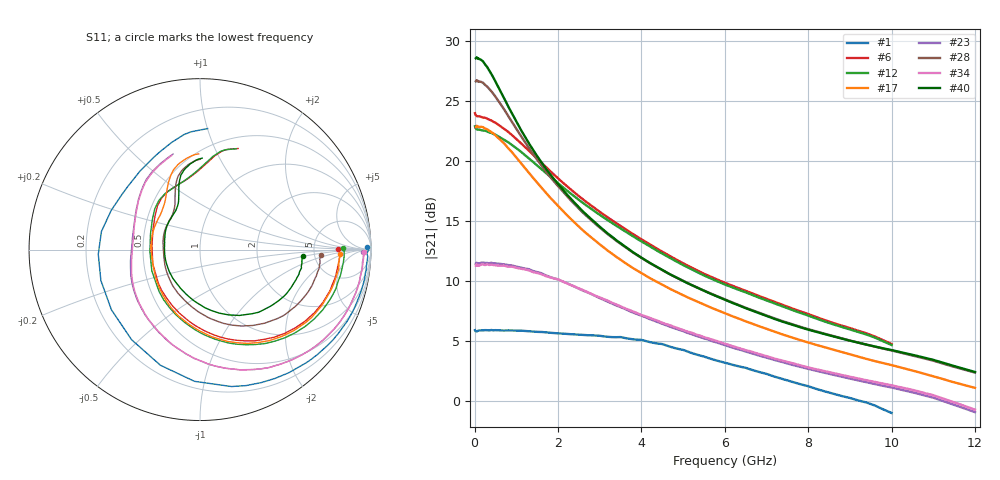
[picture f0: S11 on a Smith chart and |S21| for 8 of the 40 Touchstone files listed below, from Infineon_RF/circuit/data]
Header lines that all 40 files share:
! Infineon Technologies  Discrete & RF Semiconductors
# GHz  S  MA  R  50
!  f  S11  S21  S12  S22
! GHz  MAG  ANG  MAG  ANG  MAG  ANG  MAG  ANG
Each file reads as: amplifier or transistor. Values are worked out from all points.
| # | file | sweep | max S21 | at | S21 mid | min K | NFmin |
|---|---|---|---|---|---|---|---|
| 1 | BFP405_w_noise_VCE_4.0V_IC_0.5mA.s2p | 10 MHz to 10 GHz | 5.9 dB | 400 MHz | 5.7 dB at 1.74 GHz | 0.01 | 0.78 dB |
| 2 | BFP405_w_noise_VCE_4.0V_IC_1.2mA.s2p | 10 MHz to 10 GHz | 12.9 dB | 10 MHz | 12.0 dB at 1.74 GHz | 0.05 | 0.75 dB |
| 3 | BFP405_w_noise_VCE_4.0V_IC_1.5mA.s2p | 10 MHz to 10 GHz | 14.5 dB | 10 MHz | 13.3 dB at 1.74 GHz | 0.06 | 0.79 dB |
| 4 | BFP405_w_noise_VCE_4.0V_IC_2.5mA.s2p | 10 MHz to 10 GHz | 18.2 dB | 10 MHz | 16.1 dB at 1.74 GHz | 0.10 | 0.94 dB |
| 5 | BFP405_w_noise_VCE_4.0V_IC_3.0mA.s2p | 10 MHz to 10 GHz | 19.6 dB | 10 MHz | 17.1 dB at 1.74 GHz | 0.11 | 0.98 dB |
| 6 | BFP405_w_noise_VCE_4.0V_IC_6.0mA.s2p | 10 MHz to 10 GHz | 24.0 dB | 10 MHz | 19.4 dB at 1.74 GHz | 0.18 | 1.32 dB |
| 7 | BFP405_w_noise_VCE_4.0V_IC_8.0mA.s2p | 10 MHz to 10 GHz | 25.6 dB | 10 MHz | 20.0 dB at 1.74 GHz | 0.21 | 1.48 dB |
| 8 | BFP405_w_noise_VCE_4.0V_IC_10mA.s2p | 10 MHz to 10 GHz | 26.7 dB | 10 MHz | 20.3 dB at 1.74 GHz | 0.23 | 1.62 dB |
| 9 | BFP405_w_noise_VCE_4.5V_IC_1.0mA.s2p | 10 MHz to 10 GHz | 11.3 dB | 10 MHz | 10.6 dB at 1.74 GHz | 0.06 | 0.74 dB |
| 10 | BFP405_w_noise_VCE_4.5V_IC_1.2mA.s2p | 10 MHz to 10 GHz | 12.9 dB | 10 MHz | 12.0 dB at 1.74 GHz | 0.07 | 0.75 dB |
| 11 | BFP405_w_noise_VCE_4.5V_IC_1.5mA.s2p | 10 MHz to 10 GHz | 14.6 dB | 10 MHz | 13.4 dB at 1.74 GHz | 0.09 | 0.79 dB |
| 12 | BFP405_w_noise_VCE_4.5V_IC_5.0mA.s2p | 10 MHz to 10 GHz | 22.9 dB | 10 MHz | 18.9 dB at 1.74 GHz | 0.22 | 1.22 dB |
| 13 | BFP405_w_noise_VCE_4.5V_IC_6.0mA.s2p | 10 MHz to 10 GHz | 24.0 dB | 10 MHz | 19.4 dB at 1.74 GHz | 0.24 | 1.32 dB |
| 14 | BFP405_w_noise_VCE_4.5V_IC_8.0mA.s2p | 10 MHz to 10 GHz | 25.6 dB | 10 MHz | 20.0 dB at 1.74 GHz | 0.28 | 1.48 dB |
| 15 | BFP405F_w_noise_VCE_0.5V_IC_1.0mA.s2p | 30 MHz to 12 GHz | 11.6 dB | 50 MHz | 10.1 dB at 1.88 GHz | -0.65 | 0.95 dB |
| 16 | BFP405F_w_noise_VCE_0.5V_IC_2.0mA.s2p | 30 MHz to 12 GHz | 16.7 dB | 50 MHz | 13.8 dB at 1.88 GHz | -0.73 | 1.01 dB |
| 17 | BFP405F_w_noise_VCE_0.5V_IC_5.0mA.s2p | 30 MHz to 12 GHz | 23.0 dB | 50 MHz | 16.7 dB at 1.88 GHz | 0.01 | 1.29 dB |
| 18 | BFP405F_w_noise_VCE_0.5V_IC_6.0mA.s2p | 30 MHz to 12 GHz | 24.0 dB | 50 MHz | 16.9 dB at 1.88 GHz | -0.16 | 1.38 dB |
| 19 | BFP405F_w_noise_VCE_0.5V_IC_12mA.s2p | 30 MHz to 12 GHz | 26.5 dB | 50 MHz | 14.3 dB at 1.88 GHz | 0.32 | 1.80 dB |
| 20 | BFP405F_w_noise_VCE_0.5V_IC_16mA.s2p | 30 MHz to 12 GHz | 25.8 dB | 50 MHz | 9.8 dB at 1.88 GHz | 0.61 | 2.03 dB |
| 21 | BFP405F_w_noise_VCE_0.5V_IC_17mA.s2p | 30 MHz to 12 GHz | 25.5 dB | 30 MHz | 8.7 dB at 1.88 GHz | 0.65 | 2.08 dB |
| 22 | BFP405F_w_noise_VCE_0.5V_IC_18mA.s2p | 30 MHz to 12 GHz | 25.3 dB | 30 MHz | 7.8 dB at 1.88 GHz | 0.71 | 2.14 dB |
| 23 | BFP405F_w_noise_VCE_1.0V_IC_1.0mA.s2p | 30 MHz to 12 GHz | 11.5 dB | 200 MHz | 10.3 dB at 1.88 GHz | -0.76 | 0.95 dB |
| 24 | BFP405F_w_noise_VCE_1.0V_IC_3.0mA.s2p | 30 MHz to 12 GHz | 19.7 dB | 50 MHz | 16.0 dB at 1.88 GHz | -0.47 | 1.11 dB |
| 25 | BFP405F_w_noise_VCE_1.0V_IC_5.0mA.s2p | 30 MHz to 12 GHz | 23.0 dB | 50 MHz | 17.5 dB at 1.88 GHz | -0.56 | 1.29 dB |
| 26 | BFP405F_w_noise_VCE_1.0V_IC_8.0mA.s2p | 30 MHz to 12 GHz | 25.7 dB | 50 MHz | 18.3 dB at 1.88 GHz | -0.22 | 1.52 dB |
| 27 | BFP405F_w_noise_VCE_1.0V_IC_9.0mA.s2p | 30 MHz to 12 GHz | 26.3 dB | 50 MHz | 18.4 dB at 1.88 GHz | -0.50 | 1.60 dB |
| 28 | BFP405F_w_noise_VCE_1.0V_IC_10mA.s2p | 30 MHz to 12 GHz | 26.7 dB | 50 MHz | 18.4 dB at 1.88 GHz | -0.27 | 1.67 dB |
| 29 | BFP405F_w_noise_VCE_1.0V_IC_11mA.s2p | 30 MHz to 12 GHz | 27.2 dB | 50 MHz | 18.4 dB at 1.88 GHz | -0.11 | 1.74 dB |
| 30 | BFP405F_w_noise_VCE_1.0V_IC_14mA.s2p | 30 MHz to 12 GHz | 28.0 dB | 50 MHz | 18.1 dB at 1.88 GHz | -0.15 | 1.91 dB |
| 31 | BFP405F_w_noise_VCE_1.0V_IC_16mA.s2p | 30 MHz to 12 GHz | 28.3 dB | 50 MHz | 17.7 dB at 1.88 GHz | -0.09 | 2.03 dB |
| 32 | BFP405F_w_noise_VCE_1.0V_IC_19mA.s2p | 30 MHz to 12 GHz | 28.5 dB | 50 MHz | 16.4 dB at 1.88 GHz | -0.04 | 2.19 dB |
| 33 | BFP405F_w_noise_VCE_1.0V_IC_23mA.s2p | 30 MHz to 12 GHz | 28.1 dB | 50 MHz | 14.1 dB at 1.88 GHz | 0.56 | 2.38 dB |
| 34 | BFP405F_w_noise_VCE_1.5V_IC_1.0mA.s2p | 30 MHz to 12 GHz | 11.4 dB | 300 MHz | 10.2 dB at 1.88 GHz | -0.87 | 0.95 dB |
| 35 | BFP405F_w_noise_VCE_1.5V_IC_2.0mA.s2p | 30 MHz to 12 GHz | 16.7 dB | 50 MHz | 14.3 dB at 1.88 GHz | -0.78 | 1.01 dB |
| 36 | BFP405F_w_noise_VCE_1.5V_IC_5.0mA.s2p | 30 MHz to 12 GHz | 23.0 dB | 50 MHz | 17.7 dB at 1.88 GHz | -0.56 | 1.29 dB |
| 37 | BFP405F_w_noise_VCE_1.5V_IC_8.0mA.s2p | 30 MHz to 12 GHz | 25.7 dB | 50 MHz | 18.6 dB at 1.88 GHz | -0.31 | 1.52 dB |
| 38 | BFP405F_w_noise_VCE_1.5V_IC_9.0mA.s2p | 30 MHz to 12 GHz | 26.3 dB | 50 MHz | 18.7 dB at 1.88 GHz | -0.53 | 1.60 dB |
| 39 | BFP405F_w_noise_VCE_1.5V_IC_11mA.s2p | 30 MHz to 12 GHz | 27.2 dB | 50 MHz | 18.8 dB at 1.88 GHz | -0.41 | 1.74 dB |
| 40 | BFP405F_w_noise_VCE_1.5V_IC_16mA.s2p | 30 MHz to 12 GHz | 28.7 dB | 50 MHz | 18.6 dB at 1.88 GHz | -0.11 | 2.03 dB |

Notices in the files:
2_Circuitos/VCO/Simulacion/modelos/Infineon_RF/circuit/data/BFP405F_w_noise_VCE_0.5V_IC_1.0mA.s2p:
(c) 2015  Infineon Technologies AG, Munich
2_Circuitos/VCO/Simulacion/modelos/Infineon_RF/circuit/data/BFP405_w_noise_VCE_4.0V_IC_0.5mA.s2p:
(c) 2016  Infineon Technologies AG, Munich
